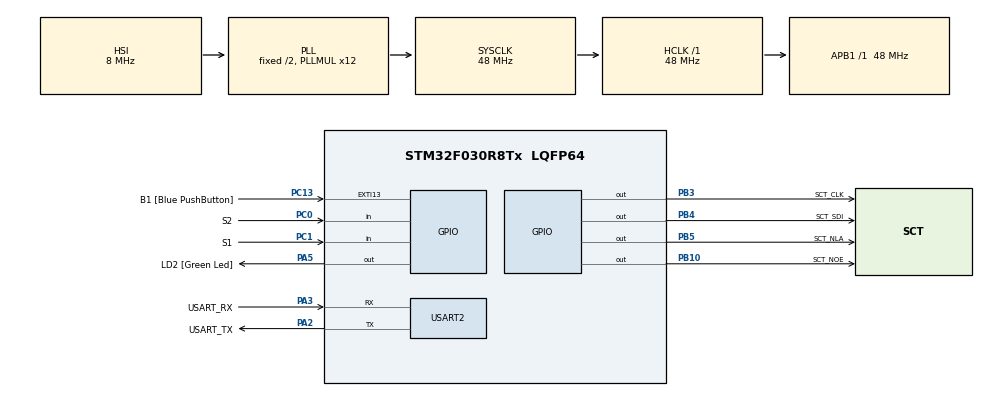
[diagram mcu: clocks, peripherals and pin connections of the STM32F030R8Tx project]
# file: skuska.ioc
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Mcu.Family=STM32F0
Mcu.Name=STM32F030R8Tx
Mcu.Package=LQFP64
PA13.GPIO_Label=TMS
PA13.Mode=Serial_Wire
PA13.Signal=SYS_SWDIO
PA14.GPIO_Label=TCK
PA14.Mode=Serial_Wire
PA14.Signal=SYS_SWCLK
PA2.GPIO_Label=USART_TX
PA2.GPIO_Mode=GPIO_MODE_AF_PP
PA2.GPIO_PuPd=GPIO_NOPULL
PA2.GPIO_Speed=GPIO_SPEED_FREQ_LOW
PA2.Mode=Asynchronous
PA2.Signal=USART2_TX
PA3.GPIO_Label=USART_RX
PA3.GPIO_Mode=GPIO_MODE_AF_PP
PA3.GPIO_PuPd=GPIO_NOPULL
PA3.GPIO_Speed=GPIO_SPEED_FREQ_LOW
PA3.Mode=Asynchronous
PA3.Signal=USART2_RX
PA5.GPIO_Label=LD2 [Green Led]
PA5.GPIO_Mode=GPIO_MODE_OUTPUT_PP
PA5.GPIO_PuPd=GPIO_NOPULL
PA5.GPIO_Speed=GPIO_SPEED_FREQ_LOW
PA5.Signal=GPIO_Output
PB10.GPIO_Label=SCT_NOE
PB10.Signal=GPIO_Output
PB3.GPIO_Label=SCT_CLK
PB3.Signal=GPIO_Output
PB4.GPIO_Label=SCT_SDI
PB4.Signal=GPIO_Output
PB5.GPIO_Label=SCT_NLA
PB5.Signal=GPIO_Output
PC0.GPIO_Label=S2
PC0.GPIO_PuPd=GPIO_PULLUP
PC0.Signal=GPIO_Input
PC1.GPIO_Label=S1
PC1.GPIO_PuPd=GPIO_PULLUP
PC1.Signal=GPIO_Input
PC13.GPIO_Label=B1 [Blue PushButton]
PC13.GPIO_ModeDefaultEXTI=GPIO_MODE_IT_FALLING
PC13.Signal=GPXTI13
PC14-OSC32_IN.Mode=LSE-External-Oscillator
PC14-OSC32_IN.Signal=RCC_OSC32_IN
PC15-OSC32_OUT.Mode=LSE-External-Oscillator
PC15-OSC32_OUT.Signal=RCC_OSC32_OUT
PF0-OSC_IN.Mode=HSE-External-Clock-Source
PF0-OSC_IN.Signal=RCC_OSC_IN
PF1-OSC_OUT.Signal=RCC_OSC_OUT
ProjectManager.HeapSize=0x200
ProjectManager.StackSize=0x400
ProjectManager.TargetToolchain=STM32CubeIDE
RCC.AHBFreq_Value=48000000
RCC.APB1Freq_Value=48000000
RCC.APB1TimFreq_Value=48000000
RCC.HCLKFreq_Value=48000000
RCC.PLLMUL=RCC_PLL_MUL12
RCC.SYSCLKFreq_VALUE=48000000
RCC.SYSCLKSource=RCC_SYSCLKSOURCE_PLLCLK
USART2.VirtualMode-Asynchronous=VM_ASYNC
board=NUCLEO-F030R8

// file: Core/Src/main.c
/* USER CODE BEGIN Header */
/**
 ******************************************************************************
 * @file           : main.c
 * @brief          : Main program body
 ******************************************************************************
 * @attention
 *
 * Copyright (c) 2023 STMicroelectronics.
 * All rights reserved.
 *
 * This software is licensed under terms that can be found in the LICENSE file
 * in the root directory of this software component.
 * If no LICENSE file comes with this software, it is provided AS-IS.
 *
 ******************************************************************************
 */
/* USER CODE END Header */
#include "main.h"

/* USER CODE BEGIN Includes */
#include "sct.h"
#include <time.h>
#include <stdlib.h>
/* USER CODE END Includes */

UART_HandleTypeDef huart2;

void SystemClock_Config(void);
static void MX_GPIO_Init(void);
static void MX_USART2_UART_Init(void);

int main(void)
{

	/* MCU Configuration--------------------------------------------------------*/

	/* Reset of all peripherals, Initializes the Flash interface and the Systick. */
	HAL_Init();

	/* Configure the system clock */
	SystemClock_Config();

	/* Initialize all configured peripherals */
	MX_GPIO_Init();
	MX_USART2_UART_Init();
	/* USER CODE BEGIN 2 */
	sct_init();
	srand(time(NULL));

	// function for generation random number
	void random_number() {
		int16_t r = rand() % 100;
		if ((r > 10) && (r < 20)) {
			sct_value(919);
		}
		else if ((r > 21) && (r < 30)) {
			sct_value(191);
		}
		else if ((r > 31) && (r < 40)) {
			sct_value(111);
		}
		else if ((r > 41) && (r < 50)) {
			sct_value(292);
		}
		else if ((r > 51) && (r < 60)) {
			sct_value(212);
		}
		else if ((r > 61) && (r < 70)) {
			sct_value(222);
		}
		else {
			sct_value(191);
		}
	}

	/* USER CODE END 2 */

	/* Infinite loop */
	/* USER CODE BEGIN WHILE */
	while (1)
	{
		// state automat
		static enum {STATE0, STATE1, STATE2 } state = STATE0;

		// button pressed
		if (HAL_GPIO_ReadPin(S1_GPIO_Port, S1_Pin)==0) {
			state = STATE1;
			HAL_Delay(50);
		}
		if (HAL_GPIO_ReadPin(S2_GPIO_Port, S2_Pin)==0) {
			state = STATE2;
			HAL_Delay(50);
		}

		switch (state) {
		case STATE1: {
			for (int16_t i = 0; i<20; i++) {
				sct_value(999);
				HAL_Delay(20 + (i*2) );

				sct_value(919);
				HAL_Delay(25 + (i*2));

				sct_value(191);
				HAL_Delay(30 + (i*2));

				sct_value(111);
				HAL_Delay(35 + (i*2));

				sct_value(292);
				HAL_Delay(40 + (i*2));

				sct_value(212);
				HAL_Delay(45 + (i*2));

				sct_value(222);
				HAL_Delay(50 + (i*2));
			}

			random_number();
			HAL_Delay(3000);
			// return tu default state
			state = STATE0;
			break;
		}
		case STATE2: {
			random_number();
			HAL_Delay(3000);
			// return tu default state
			state = STATE0;
			break;
		}
		case STATE0: {
			sct_value(999);
			break;
		}
		default: state = STATE0;
		}

		HAL_Delay(50);
		/* USER CODE END WHILE */

	}
}

void SystemClock_Config(void)
{
	RCC_OscInitTypeDef RCC_OscInitStruct = {0};
	RCC_ClkInitTypeDef RCC_ClkInitStruct = {0};

	/** Initializes the RCC Oscillators according to the specified parameters
	 * in the RCC_OscInitTypeDef structure.
	 */
	RCC_OscInitStruct.OscillatorType = RCC_OSCILLATORTYPE_HSI;
	RCC_OscInitStruct.HSIState = RCC_HSI_ON;
	RCC_OscInitStruct.HSICalibrationValue = RCC_HSICALIBRATION_DEFAULT;
	RCC_OscInitStruct.PLL.PLLState = RCC_PLL_ON;
	RCC_OscInitStruct.PLL.PLLSource = RCC_PLLSOURCE_HSI;
	RCC_OscInitStruct.PLL.PLLMUL = RCC_PLL_MUL12;
	RCC_OscInitStruct.PLL.PREDIV = RCC_PREDIV_DIV1;
	if (HAL_RCC_OscConfig(&RCC_OscInitStruct) != HAL_OK)
	{
		Error_Handler();
	}

	/** Initializes the CPU, AHB and APB buses clocks
	 */
	RCC_ClkInitStruct.ClockType = RCC_CLOCKTYPE_HCLK|RCC_CLOCKTYPE_SYSCLK
			|RCC_CLOCKTYPE_PCLK1;
	RCC_ClkInitStruct.SYSCLKSource = RCC_SYSCLKSOURCE_PLLCLK;
	RCC_ClkInitStruct.AHBCLKDivider = RCC_SYSCLK_DIV1;
	RCC_ClkInitStruct.APB1CLKDivider = RCC_HCLK_DIV1;

	if (HAL_RCC_ClockConfig(&RCC_ClkInitStruct, FLASH_LATENCY_1) != HAL_OK)
	{
		Error_Handler();
	}
}

static void MX_USART2_UART_Init(void)
{

	huart2.Instance = USART2;
	huart2.Init.BaudRate = 38400;
	huart2.Init.WordLength = UART_WORDLENGTH_8B;
	huart2.Init.StopBits = UART_STOPBITS_1;
	huart2.Init.Parity = UART_PARITY_NONE;
	huart2.Init.Mode = UART_MODE_TX_RX;
	huart2.Init.HwFlowCtl = UART_HWCONTROL_NONE;
	huart2.Init.OverSampling = UART_OVERSAMPLING_16;
	huart2.Init.OneBitSampling = UART_ONE_BIT_SAMPLE_DISABLE;
	huart2.AdvancedInit.AdvFeatureInit = UART_ADVFEATURE_NO_INIT;
	if (HAL_UART_Init(&huart2) != HAL_OK)
	{
		Error_Handler();
	}

}

static void MX_GPIO_Init(void)
{
	GPIO_InitTypeDef GPIO_InitStruct = {0};

	/* GPIO Ports Clock Enable */
	__HAL_RCC_GPIOC_CLK_ENABLE();
	__HAL_RCC_GPIOF_CLK_ENABLE();
	__HAL_RCC_GPIOA_CLK_ENABLE();
	__HAL_RCC_GPIOB_CLK_ENABLE();

	/*Configure GPIO pin Output Level */
	HAL_GPIO_WritePin(GPIOA, GPIO_PIN_5, GPIO_PIN_RESET);

	/*Configure GPIO pin Output Level */
	HAL_GPIO_WritePin(GPIOB, GPIO_PIN_10|GPIO_PIN_3|GPIO_PIN_4|GPIO_PIN_5, GPIO_PIN_RESET);

	/*Configure GPIO pin : PC13 */
	GPIO_InitStruct.Pin = GPIO_PIN_13;
	GPIO_InitStruct.Mode = GPIO_MODE_IT_FALLING;
	GPIO_InitStruct.Pull = GPIO_NOPULL;
	HAL_GPIO_Init(GPIOC, &GPIO_InitStruct);

	/*Configure GPIO pins : PC0 PC1 */
	GPIO_InitStruct.Pin = GPIO_PIN_0|GPIO_PIN_1;
	GPIO_InitStruct.Mode = GPIO_MODE_INPUT;
	GPIO_InitStruct.Pull = GPIO_PULLUP;
	HAL_GPIO_Init(GPIOC, &GPIO_InitStruct);

	/*Configure GPIO pin : PA5 */
	GPIO_InitStruct.Pin = GPIO_PIN_5;
	GPIO_InitStruct.Mode = GPIO_MODE_OUTPUT_PP;
	GPIO_InitStruct.Pull = GPIO_NOPULL;
	GPIO_InitStruct.Speed = GPIO_SPEED_FREQ_LOW;
	HAL_GPIO_Init(GPIOA, &GPIO_InitStruct);

	/*Configure GPIO pins : PB10 PB3 PB4 PB5 */
	GPIO_InitStruct.Pin = GPIO_PIN_10|GPIO_PIN_3|GPIO_PIN_4|GPIO_PIN_5;
	GPIO_InitStruct.Mode = GPIO_MODE_OUTPUT_PP;
	GPIO_InitStruct.Pull = GPIO_NOPULL;
	GPIO_InitStruct.Speed = GPIO_SPEED_FREQ_LOW;
	HAL_GPIO_Init(GPIOB, &GPIO_InitStruct);

}

void Error_Handler(void)
{
	__disable_irq();
	while (1)
	{
	}
}
